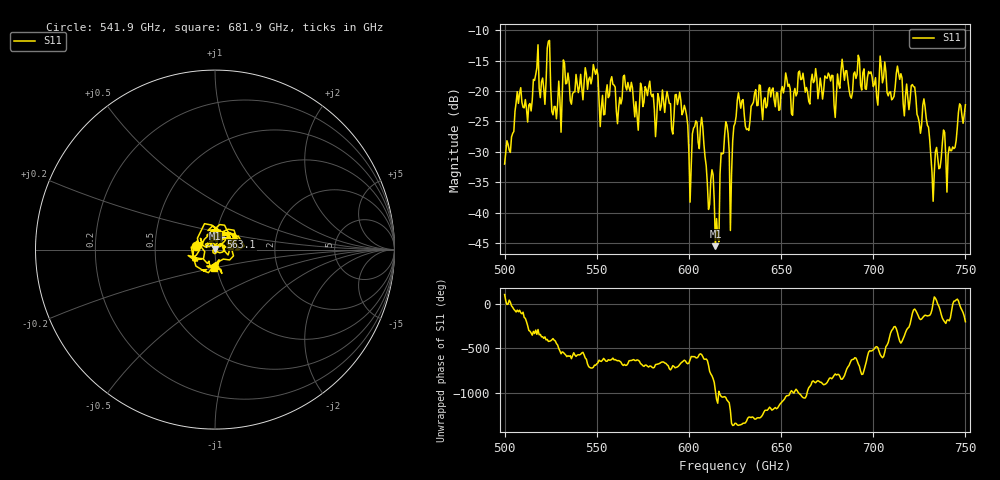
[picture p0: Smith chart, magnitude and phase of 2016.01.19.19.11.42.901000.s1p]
!Created with skrf (http://scikit-rf.org).
# GHz S RI R 50.0
!freq ReS11 ImS11
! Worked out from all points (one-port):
!   401 points, 500 GHz to 750 GHz, reference 50 ohm
!   lowest |S11| = -45.5 dB at 614.4 GHz (marker M1), VSWR 1.01, Z = 49.9 + j0.52 ohm
!   |S11| at or under -10 dB: start of sweep to end of sweep
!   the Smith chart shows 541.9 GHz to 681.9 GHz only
!   S11 on the Smith chart (normalised r, x): 541.9 GHz: 0.81, +0.03; 563.1 GHz: 1.06, +0.15; 681.9 GHz: 0.96, -0.20
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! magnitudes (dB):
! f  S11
! 500 GHz  -32.0
! 516.9 GHz  -17.3
! 520.6 GHz  -17.9
! 523.8 GHz  -11.8
! 526.9 GHz  -22.5
! 531.2 GHz  -20.6
! 541.9 GHz  -19.5
! 549.4 GHz  -17.2
! 553.1 GHz  -20.7
! 558.8 GHz  -18.9
! 562.5 GHz  -21.0
! 563.1 GHz  -22.1
! 593.8 GHz  -22.2
! 600.6 GHz  -38.3
! 607.5 GHz  -25.8
! 614.4 GHz  -45.5
! 615.6 GHz  -44.2
! 619.4 GHz  -27.3
! 623.1 GHz  -33.6
! 625 GHz  -25.3
! 656.2 GHz  -24.0
! 681.9 GHz  -19.5
! 687.5 GHz  -20.8
! 705 GHz  -18.6
! 718.8 GHz  -21.1
! 728.1 GHz  -22.6
! 732.5 GHz  -38.1
! 750 GHz  -22.2
